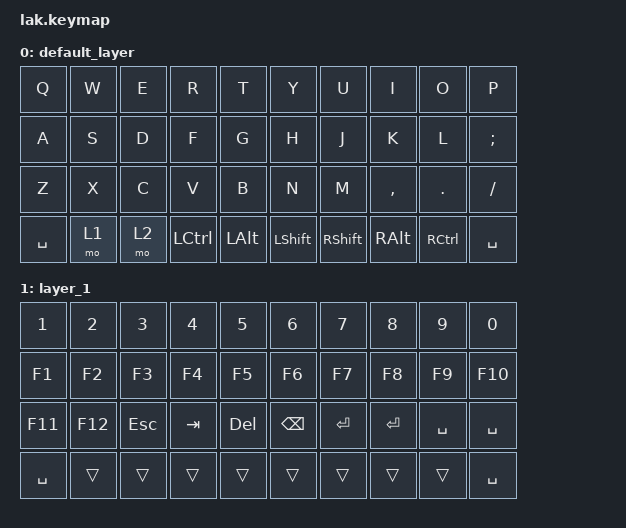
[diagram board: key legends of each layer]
#include <behaviors.dtsi>
#include <dt-bindings/zmk/keys.h>

/ {
    keymap {
        compatible = "zmk,keymap";
        
        default_layer {
            bindings = <
                &kp Q &kp W &kp E &kp R &kp T &kp Y &kp U &kp I &kp O &kp P
                &kp A &kp S &kp D &kp F &kp G &kp H &kp J &kp K &kp L &kp SEMI
                &kp Z &kp X &kp C &kp V &kp B &kp N &kp M &kp COMMA &kp DOT &kp FSLH
                &kp SPACE &mo 1 &mo 2 &kp LCTRL &kp LALT &kp LSHFT &kp RSHFT &kp RALT &kp RCTRL &kp SPACE
            >;
        };
        
        layer_1 {
            bindings = <
                &kp N1 &kp N2 &kp N3 &kp N4 &kp N5 &kp N6 &kp N7 &kp N8 &kp N9 &kp N0
                &kp F1 &kp F2 &kp F3 &kp F4 &kp F5 &kp F6 &kp F7 &kp F8 &kp F9 &kp F10
                &kp F11 &kp F12 &kp ESC &kp TAB &kp DEL &kp BSPC &kp RET &kp ENTER &kp SPACE &kp SPACE
                &kp SPACE &trans &trans &trans &trans &trans &trans &trans &trans &kp SPACE
            >;
        };
    };
};
